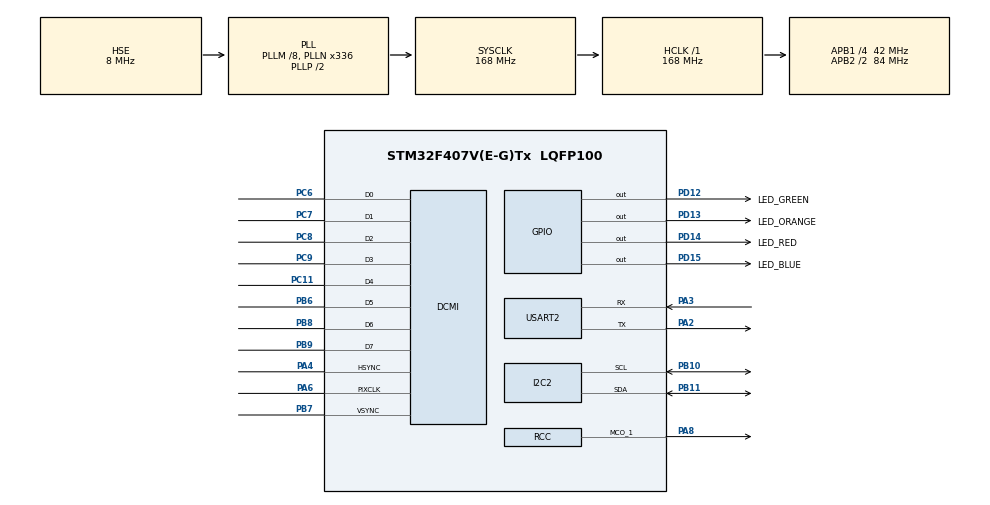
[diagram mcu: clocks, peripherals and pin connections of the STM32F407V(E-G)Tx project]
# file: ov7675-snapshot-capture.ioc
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DCMI.HSPolarity=DCMI_HSPOLARITY_LOW
DCMI.PCKPolarity=DCMI_PCKPOLARITY_RISING
DCMI.VSPolarity=DCMI_VSPOLARITY_LOW
Dma.DCMI.0.Direction=DMA_PERIPH_TO_MEMORY
Dma.DCMI.0.FIFOMode=DMA_FIFOMODE_ENABLE
Dma.DCMI.0.FIFOThreshold=DMA_FIFO_THRESHOLD_FULL
Dma.DCMI.0.Instance=DMA2_Stream1
Dma.DCMI.0.MemBurst=DMA_MBURST_INC4
Dma.DCMI.0.MemDataAlignment=DMA_MDATAALIGN_WORD
Dma.DCMI.0.MemInc=DMA_MINC_ENABLE
Dma.DCMI.0.Mode=DMA_NORMAL
Dma.DCMI.0.PeriphBurst=DMA_PBURST_SINGLE
Dma.DCMI.0.PeriphDataAlignment=DMA_PDATAALIGN_WORD
Dma.DCMI.0.PeriphInc=DMA_PINC_DISABLE
Dma.DCMI.0.Priority=DMA_PRIORITY_VERY_HIGH
Dma.Request0=DCMI
Mcu.Family=STM32F4
Mcu.Name=STM32F407V(E-G)Tx
Mcu.Package=LQFP100
NVIC.DCMI_IRQn=true\:0\:0\:false\:false\:true\:true\:true\:true
NVIC.DMA2_Stream1_IRQn=true\:0\:0\:false\:false\:true\:false\:true\:true
NVIC.PriorityGroup=NVIC_PRIORITYGROUP_4
PA2.Mode=Asynchronous
PA2.Signal=USART2_TX
PA3.Mode=Asynchronous
PA3.Signal=USART2_RX
PA4.GPIO_PuPd=GPIO_PULLDOWN
PA4.GPIO_Speed=GPIO_SPEED_FREQ_VERY_HIGH
PA4.Mode=Slave_8_bits_External_Synchro
PA4.Signal=DCMI_HSYNC
PA6.GPIO_PuPd=GPIO_PULLDOWN
PA6.GPIO_Speed=GPIO_SPEED_FREQ_VERY_HIGH
PA6.Mode=Slave_8_bits_External_Synchro
PA6.Signal=DCMI_PIXCLK
PA8.GPIO_Speed=GPIO_SPEED_FREQ_VERY_HIGH
PA8.Mode=Clock-out-1
PA8.Signal=RCC_MCO_1
PB10.GPIO_Pu=GPIO_PULLUP
PB10.Mode=I2C
PB10.Signal=I2C2_SCL
PB11.GPIO_Pu=GPIO_PULLUP
PB11.Mode=I2C
PB11.Signal=I2C2_SDA
PB6.GPIO_PuPd=GPIO_PULLDOWN
PB6.GPIO_Speed=GPIO_SPEED_FREQ_VERY_HIGH
PB6.Mode=Slave_8_bits_External_Synchro
PB6.Signal=DCMI_D5
PB7.GPIO_PuPd=GPIO_PULLDOWN
PB7.GPIO_Speed=GPIO_SPEED_FREQ_VERY_HIGH
PB7.Mode=Slave_8_bits_External_Synchro
PB7.Signal=DCMI_VSYNC
PB8.GPIO_PuPd=GPIO_PULLDOWN
PB8.GPIO_Speed=GPIO_SPEED_FREQ_VERY_HIGH
PB8.Mode=Slave_8_bits_External_Synchro
PB8.Signal=DCMI_D6
PB9.GPIO_PuPd=GPIO_PULLDOWN
PB9.GPIO_Speed=GPIO_SPEED_FREQ_VERY_HIGH
PB9.Mode=Slave_8_bits_External_Synchro
PB9.Signal=DCMI_D7
PC11.GPIO_PuPd=GPIO_PULLDOWN
PC11.GPIO_Speed=GPIO_SPEED_FREQ_VERY_HIGH
PC11.Mode=Slave_8_bits_External_Synchro
PC11.Signal=DCMI_D4
PC6.GPIO_PuPd=GPIO_PULLDOWN
PC6.GPIO_Speed=GPIO_SPEED_FREQ_VERY_HIGH
PC6.Mode=Slave_8_bits_External_Synchro
PC6.Signal=DCMI_D0
PC7.GPIO_PuPd=GPIO_PULLDOWN
PC7.GPIO_Speed=GPIO_SPEED_FREQ_VERY_HIGH
PC7.Mode=Slave_8_bits_External_Synchro
PC7.Signal=DCMI_D1
PC8.GPIO_PuPd=GPIO_PULLDOWN
PC8.GPIO_Speed=GPIO_SPEED_FREQ_VERY_HIGH
PC8.Mode=Slave_8_bits_External_Synchro
PC8.Signal=DCMI_D2
PC9.GPIO_PuPd=GPIO_PULLDOWN
PC9.GPIO_Speed=GPIO_SPEED_FREQ_VERY_HIGH
PC9.Mode=Slave_8_bits_External_Synchro
PC9.Signal=DCMI_D3
PD12.GPIO_Label=LED_GREEN
PD12.Signal=GPIO_Output
PD13.GPIO_Label=LED_ORANGE
PD13.Signal=GPIO_Output
PD14.GPIO_Label=LED_RED
PD14.Signal=GPIO_Output
PD15.GPIO_Label=LED_BLUE
PD15.Signal=GPIO_Output
PH0-OSC_IN.Mode=HSE-External-Oscillator
PH0-OSC_IN.Signal=RCC_OSC_IN
PH1-OSC_OUT.Mode=HSE-External-Oscillator
PH1-OSC_OUT.Signal=RCC_OSC_OUT
ProjectManager.HeapSize=0x200
ProjectManager.StackSize=0x400
ProjectManager.TargetToolchain=STM32CubeIDE
RCC.48MHZClocksFreq_Value=84000000
RCC.AHBFreq_Value=168000000
RCC.APB1CLKDivider=RCC_HCLK_DIV4
RCC.APB1Freq_Value=42000000
RCC.APB1TimFreq_Value=84000000
RCC.APB2CLKDivider=RCC_HCLK_DIV2
RCC.APB2Freq_Value=84000000
RCC.APB2TimFreq_Value=168000000
RCC.CortexFreq_Value=168000000
RCC.HCLKFreq_Value=168000000
RCC.HSE_VALUE=8000000
RCC.HSI_VALUE=16000000
RCC.LSE_VALUE=32768
RCC.PLLM=8
RCC.PLLN=336
RCC.PLLSourceVirtual=RCC_PLLSOURCE_HSE
RCC.SYSCLKFreq_VALUE=168000000
RCC.SYSCLKSource=RCC_SYSCLKSOURCE_PLLCLK
RCC.VCOOutputFreq_Value=336000000
USART2.VirtualMode=VM_ASYNC
board=custom

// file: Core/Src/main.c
/* USER CODE BEGIN Header */
/**
  ******************************************************************************
  * @file           : main.c
  * @brief          : Main program body
  ******************************************************************************
  * @attention
  *
  * Copyright (c) 2024 STMicroelectronics.
  * All rights reserved.
  *
  * This software is licensed under terms that can be found in the LICENSE file
  * in the root directory of this software component.
  * If no LICENSE file comes with this software, it is provided AS-IS.
  *
  ******************************************************************************
  */
/* USER CODE END Header */
#include "main.h"

/* USER CODE BEGIN Includes */
#include <stdio.h>
#include <ov7675.h>
/* USER CODE END Includes */

DCMI_HandleTypeDef hdcmi;
DMA_HandleTypeDef hdma_dcmi;

I2C_HandleTypeDef hi2c2;

UART_HandleTypeDef huart2;

void SystemClock_Config(void);
static void MX_GPIO_Init(void);
static void MX_DMA_Init(void);
static void MX_USART2_UART_Init(void);
static void MX_I2C2_Init(void);
static void MX_DCMI_Init(void);
/* USER CODE BEGIN PFP */
#define PUTCHAR_PROTOTYPE int __io_putchar(int ch)
//void DMATransferComplete(DMA_HandleTypeDef *hdma);
/* USER CODE END PFP */

/* USER CODE BEGIN 0 */
// Image buffer;
//unsigned char image[176 * 144 * 2]; // QCIF: 176x144 x 2 bytes per pixel (RGB565)
uint32_t buffer_32[640 * 200 /4];
int cap_num_bytes = 640*200;
int lines = 0;

void HAL_DCMI_FrameEventCallback(DCMI_HandleTypeDef *hdcmi){
	HAL_GPIO_TogglePin(LED_BLUE_GPIO_Port, LED_BLUE_Pin);
	printf("Frame received\n\r");
	for(int i = 0; i< cap_num_bytes /4; i++){
		uint16_t lo = buffer_32[i]&0xFFFF;
		uint16_t hi= (buffer_32[i] >> 16)&0xFFFF;
		printf("0x%x, ", lo);
		printf("0x%x, ", hi);
	}
	//printf("\n\rFrame printed\n\r");
	printf("F --> %dl\n\r", lines);
}

void HAL_DCMI_VsyncEventCallback(DCMI_HandleTypeDef *hdcmi){
	HAL_GPIO_TogglePin(LED_RED_GPIO_Port, LED_RED_Pin);
	//printf("V --> %dl\n\r", lines);
	lines = 0;
}

void HAL_DCMI_LineEventCallback(DCMI_HandleTypeDef *hdcmi){
	HAL_GPIO_TogglePin(LED_GREEN_GPIO_Port, LED_GREEN_Pin);
	lines++;
	//printf("L");
}
/* USER CODE END 0 */

int main(void)
{

  /* MCU Configuration--------------------------------------------------------*/

  /* Reset of all peripherals, Initializes the Flash interface and the Systick. */
  HAL_Init();

  /* Configure the system clock */
  SystemClock_Config();

  /* Initialize all configured peripherals */
  MX_GPIO_Init();
  MX_DMA_Init();
  MX_USART2_UART_Init();
  MX_I2C2_Init();
  MX_DCMI_Init();
  /* USER CODE BEGIN 2 */
  printf("OV7675 snapshot capture\n\r");

  //OV7675 init
  //ov7675_init(&hi2c2);

  //OV7675 config
  //ov7675_config();

  //OV7675 start cap
  //HAL_DMA_RegisterCallback(&hdma_dcmi, HAL_DMA_XFER_CPLT_CB_ID, &DMATransferComplete);

  //Start capture
  HAL_StatusTypeDef ret;
  ret = HAL_DCMI_Start_DMA(&hdcmi, DCMI_MODE_CONTINUOUS, (uint32_t)buffer_32, cap_num_bytes/4);
  printf("start DMA ret:%d\n\r", ret);

  /* USER CODE END 2 */

  /* Infinite loop */
  /* USER CODE BEGIN WHILE */
  while (1)
  {
	  //HAL_DMA_Start_IT(&hdma_dcmi, SrcAddress, DstAddress, 176 * 144 * 2);

	  HAL_GPIO_TogglePin(LED_ORANGE_GPIO_Port, LED_ORANGE_Pin);
	  HAL_Delay(200);
    /* USER CODE END WHILE */

  }
}

void SystemClock_Config(void)
{
  RCC_OscInitTypeDef RCC_OscInitStruct = {0};
  RCC_ClkInitTypeDef RCC_ClkInitStruct = {0};

  /** Configure the main internal regulator output voltage
  */
  __HAL_RCC_PWR_CLK_ENABLE();
  __HAL_PWR_VOLTAGESCALING_CONFIG(PWR_REGULATOR_VOLTAGE_SCALE1);

  /** Initializes the RCC Oscillators according to the specified parameters
  * in the RCC_OscInitTypeDef structure.
  */
  RCC_OscInitStruct.OscillatorType = RCC_OSCILLATORTYPE_HSI|RCC_OSCILLATORTYPE_HSE;
  RCC_OscInitStruct.HSEState = RCC_HSE_ON;
  RCC_OscInitStruct.HSIState = RCC_HSI_ON;
  RCC_OscInitStruct.HSICalibrationValue = RCC_HSICALIBRATION_DEFAULT;
  RCC_OscInitStruct.PLL.PLLState = RCC_PLL_ON;
  RCC_OscInitStruct.PLL.PLLSource = RCC_PLLSOURCE_HSE;
  RCC_OscInitStruct.PLL.PLLM = 8;
  RCC_OscInitStruct.PLL.PLLN = 336;
  RCC_OscInitStruct.PLL.PLLP = RCC_PLLP_DIV2;
  RCC_OscInitStruct.PLL.PLLQ = 4;
  if (HAL_RCC_OscConfig(&RCC_OscInitStruct) != HAL_OK)
  {
    Error_Handler();
  }

  /** Initializes the CPU, AHB and APB buses clocks
  */
  RCC_ClkInitStruct.ClockType = RCC_CLOCKTYPE_HCLK|RCC_CLOCKTYPE_SYSCLK
                              |RCC_CLOCKTYPE_PCLK1|RCC_CLOCKTYPE_PCLK2;
  RCC_ClkInitStruct.SYSCLKSource = RCC_SYSCLKSOURCE_PLLCLK;
  RCC_ClkInitStruct.AHBCLKDivider = RCC_SYSCLK_DIV1;
  RCC_ClkInitStruct.APB1CLKDivider = RCC_HCLK_DIV4;
  RCC_ClkInitStruct.APB2CLKDivider = RCC_HCLK_DIV2;

  if (HAL_RCC_ClockConfig(&RCC_ClkInitStruct, FLASH_LATENCY_5) != HAL_OK)
  {
    Error_Handler();
  }
  HAL_RCC_MCOConfig(RCC_MCO1, RCC_MCO1SOURCE_HSI, RCC_MCODIV_1);
}

static void MX_DCMI_Init(void)
{

  hdcmi.Instance = DCMI;
  hdcmi.Init.SynchroMode = DCMI_SYNCHRO_HARDWARE;
  hdcmi.Init.PCKPolarity = DCMI_PCKPOLARITY_RISING;
  hdcmi.Init.VSPolarity = DCMI_VSPOLARITY_LOW;
  hdcmi.Init.HSPolarity = DCMI_HSPOLARITY_LOW;
  hdcmi.Init.CaptureRate = DCMI_CR_ALL_FRAME;
  hdcmi.Init.ExtendedDataMode = DCMI_EXTEND_DATA_8B;
  hdcmi.Init.JPEGMode = DCMI_JPEG_DISABLE;
  if (HAL_DCMI_Init(&hdcmi) != HAL_OK)
  {
    Error_Handler();
  }

}

static void MX_I2C2_Init(void)
{

  hi2c2.Instance = I2C2;
  hi2c2.Init.ClockSpeed = 100000;
  hi2c2.Init.DutyCycle = I2C_DUTYCYCLE_2;
  hi2c2.Init.OwnAddress1 = 0;
  hi2c2.Init.AddressingMode = I2C_ADDRESSINGMODE_7BIT;
  hi2c2.Init.DualAddressMode = I2C_DUALADDRESS_DISABLE;
  hi2c2.Init.OwnAddress2 = 0;
  hi2c2.Init.GeneralCallMode = I2C_GENERALCALL_DISABLE;
  hi2c2.Init.NoStretchMode = I2C_NOSTRETCH_DISABLE;
  if (HAL_I2C_Init(&hi2c2) != HAL_OK)
  {
    Error_Handler();
  }

}

static void MX_USART2_UART_Init(void)
{

  huart2.Instance = USART2;
  huart2.Init.BaudRate = 115200;
  huart2.Init.WordLength = UART_WORDLENGTH_8B;
  huart2.Init.StopBits = UART_STOPBITS_1;
  huart2.Init.Parity = UART_PARITY_NONE;
  huart2.Init.Mode = UART_MODE_TX_RX;
  huart2.Init.HwFlowCtl = UART_HWCONTROL_NONE;
  huart2.Init.OverSampling = UART_OVERSAMPLING_16;
  if (HAL_UART_Init(&huart2) != HAL_OK)
  {
    Error_Handler();
  }

}

static void MX_DMA_Init(void)
{

  /* DMA controller clock enable */
  __HAL_RCC_DMA2_CLK_ENABLE();

  /* DMA interrupt init */
  /* DMA2_Stream1_IRQn interrupt configuration */
  HAL_NVIC_SetPriority(DMA2_Stream1_IRQn, 0, 0);
  HAL_NVIC_EnableIRQ(DMA2_Stream1_IRQn);

}

static void MX_GPIO_Init(void)
{
  GPIO_InitTypeDef GPIO_InitStruct = {0};

  /* GPIO Ports Clock Enable */
  __HAL_RCC_GPIOH_CLK_ENABLE();
  __HAL_RCC_GPIOA_CLK_ENABLE();
  __HAL_RCC_GPIOB_CLK_ENABLE();
  __HAL_RCC_GPIOD_CLK_ENABLE();
  __HAL_RCC_GPIOC_CLK_ENABLE();

  /*Configure GPIO pin Output Level */
  HAL_GPIO_WritePin(GPIOD, LED_GREEN_Pin|LED_ORANGE_Pin|LED_RED_Pin|LED_BLUE_Pin, GPIO_PIN_RESET);

  /*Configure GPIO pins : LED_GREEN_Pin LED_ORANGE_Pin LED_RED_Pin LED_BLUE_Pin */
  GPIO_InitStruct.Pin = LED_GREEN_Pin|LED_ORANGE_Pin|LED_RED_Pin|LED_BLUE_Pin;
  GPIO_InitStruct.Mode = GPIO_MODE_OUTPUT_PP;
  GPIO_InitStruct.Pull = GPIO_NOPULL;
  GPIO_InitStruct.Speed = GPIO_SPEED_FREQ_LOW;
  HAL_GPIO_Init(GPIOD, &GPIO_InitStruct);

  /*Configure GPIO pin : PA8 */
  GPIO_InitStruct.Pin = GPIO_PIN_8;
  GPIO_InitStruct.Mode = GPIO_MODE_AF_PP;
  GPIO_InitStruct.Pull = GPIO_NOPULL;
  GPIO_InitStruct.Speed = GPIO_SPEED_FREQ_VERY_HIGH;
  GPIO_InitStruct.Alternate = GPIO_AF0_MCO;
  HAL_GPIO_Init(GPIOA, &GPIO_InitStruct);

}

/* USER CODE BEGIN 4 */
/**
  * @brief  Retargets the C library printf function to the USART.
  * @param  None
  * @retval None
  */
PUTCHAR_PROTOTYPE
{
  /* Place your implementation of fputc here */
  /* e.g. write a character to the USART1 and Loop until the end of transmission */
  HAL_UART_Transmit(&huart2, (uint8_t *)&ch, 1, 0xFFFF);

  return ch;
}
/* USER CODE END 4 */

void Error_Handler(void)
{
  __disable_irq();
  while (1)
  {
  }
}
